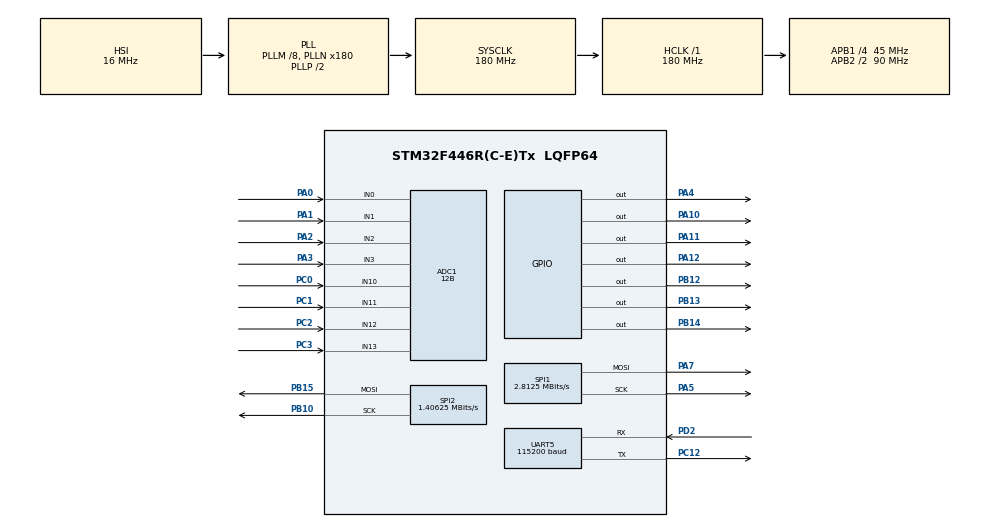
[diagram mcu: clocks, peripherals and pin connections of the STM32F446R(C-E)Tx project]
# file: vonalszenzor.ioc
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ADC1.Channel-2\#ChannelRegularConversion=ADC_CHANNEL_0
ADC1.Channel-23\#ChannelRegularConversion=ADC_CHANNEL_0
ADC1.Channel-6\#ChannelRegularConversion=ADC_CHANNEL_0
ADC1.Channel-7\#ChannelRegularConversion=ADC_CHANNEL_0
ADC1.Channel-8\#ChannelRegularConversion=ADC_CHANNEL_0
ADC1.Channel-9\#ChannelRegularConversion=ADC_CHANNEL_0
ADC1.ClockPrescaler=ADC_CLOCK_SYNC_PCLK_DIV4
ADC1.ContinuousConvMode=DISABLE
ADC1.DMAContinuousRequests=DISABLE
ADC1.DataAlign=ADC_DATAALIGN_RIGHT
ADC1.DiscontinuousConvMode=DISABLE
ADC1.EOCSelection=ADC_EOC_SINGLE_CONV
ADC1.EnableAnalogWatchDog=false
ADC1.ExternalTrigConv=ADC_SOFTWARE_START
ADC1.ExternalTrigConvEdge=ADC_EXTERNALTRIGCONVEDGE_NONE
ADC1.InjNumberOfConversion=0
ADC1.NbrOfConversion=2
ADC1.NbrOfConversionFlag=1
ADC1.Rank-2\#ChannelRegularConversion=1
ADC1.Rank-23\#ChannelRegularConversion=2
ADC1.Rank-6\#ChannelRegularConversion=5
ADC1.Rank-7\#ChannelRegularConversion=6
ADC1.Rank-8\#ChannelRegularConversion=7
ADC1.Rank-9\#ChannelRegularConversion=8
ADC1.Resolution=ADC_RESOLUTION_12B
ADC1.SamplingTime-2\#ChannelRegularConversion=ADC_SAMPLETIME_84CYCLES
ADC1.SamplingTime-23\#ChannelRegularConversion=ADC_SAMPLETIME_3CYCLES
ADC1.SamplingTime-6\#ChannelRegularConversion=ADC_SAMPLETIME_84CYCLES
ADC1.SamplingTime-7\#ChannelRegularConversion=ADC_SAMPLETIME_84CYCLES
ADC1.SamplingTime-8\#ChannelRegularConversion=ADC_SAMPLETIME_84CYCLES
ADC1.SamplingTime-9\#ChannelRegularConversion=ADC_SAMPLETIME_84CYCLES
ADC1.ScanConvMode=ENABLE
ADC1.master=1
Dma.ADC1.0.Direction=DMA_PERIPH_TO_MEMORY
Dma.ADC1.0.FIFOMode=DMA_FIFOMODE_DISABLE
Dma.ADC1.0.Instance=DMA2_Stream0
Dma.ADC1.0.MemDataAlignment=DMA_MDATAALIGN_WORD
Dma.ADC1.0.MemInc=DMA_MINC_ENABLE
Dma.ADC1.0.Mode=DMA_NORMAL
Dma.ADC1.0.PeriphDataAlignment=DMA_PDATAALIGN_WORD
Dma.ADC1.0.PeriphInc=DMA_PINC_DISABLE
Dma.ADC1.0.Priority=DMA_PRIORITY_HIGH
Dma.Request0=ADC1
Mcu.Family=STM32F4
Mcu.Name=STM32F446R(C-E)Tx
Mcu.Package=LQFP64
NVIC.ADC_IRQn=true\:0\:0\:false\:false\:true\:true
NVIC.DMA2_Stream0_IRQn=true\:0\:0\:false\:false\:true\:false
NVIC.PriorityGroup=NVIC_PRIORITYGROUP_4
NVIC.TIM2_IRQn=true\:0\:0\:false\:false\:true\:true
NVIC.TIM4_IRQn=true\:0\:0\:false\:false\:true\:true
NVIC.UART5_IRQn=true\:0\:0\:false\:false\:true\:true
PA0-WKUP.Signal=ADCx_IN0
PA1.Signal=ADCx_IN1
PA10.Signal=GPIO_Output
PA11.Signal=GPIO_Output
PA12.Signal=GPIO_Output
PA13.Signal=SYS_JTMS-SWDIO
PA14.Signal=SYS_JTCK-SWCLK
PA2.Signal=ADCx_IN2
PA3.Signal=ADCx_IN3
PA4.GPIO_ModeDefaultOutputPP=GPIO_MODE_OUTPUT_PP
PA4.GPIO_PuPd=GPIO_NOPULL
PA4.GPIO_Speed=GPIO_SPEED_FREQ_LOW
PA4.PinState=GPIO_PIN_RESET
PA4.Signal=GPIO_Output
PA5.Mode=TX_Only_Simplex_Unidirect_Master
PA5.Signal=SPI1_SCK
PA7.Mode=TX_Only_Simplex_Unidirect_Master
PA7.Signal=SPI1_MOSI
PB10.Mode=TX_Only_Simplex_Unidirect_Master
PB10.Signal=SPI2_SCK
PB12.GPIO_ModeDefaultOutputPP=GPIO_MODE_OUTPUT_PP
PB12.GPIO_PuPd=GPIO_NOPULL
PB12.GPIO_Speed=GPIO_SPEED_FREQ_LOW
PB12.PinState=GPIO_PIN_RESET
PB12.Signal=GPIO_Output
PB13.GPIO_ModeDefaultOutputPP=GPIO_MODE_OUTPUT_PP
PB13.GPIO_PuPd=GPIO_NOPULL
PB13.GPIO_Speed=GPIO_SPEED_FREQ_LOW
PB13.PinState=GPIO_PIN_RESET
PB13.Signal=GPIO_Output
PB14.GPIO_ModeDefaultOutputPP=GPIO_MODE_OUTPUT_PP
PB14.GPIO_PuPd=GPIO_NOPULL
PB14.GPIO_Speed=GPIO_SPEED_FREQ_LOW
PB14.PinState=GPIO_PIN_RESET
PB14.Signal=GPIO_Output
PB15.Mode=TX_Only_Simplex_Unidirect_Master
PB15.Signal=SPI2_MOSI
PB3.Signal=SYS_JTDO-SWO
PC0.Signal=ADCx_IN10
PC1.Signal=ADCx_IN11
PC12.Mode=Asynchronous
PC12.Signal=UART5_TX
PC2.Signal=ADCx_IN12
PC3.Signal=ADCx_IN13
PD2.Mode=Asynchronous
PD2.Signal=UART5_RX
ProjectManager.HeapSize=0x200
ProjectManager.StackSize=0x400
ProjectManager.TargetToolchain=SW4STM32
RCC.AHBFreq_Value=180000000
RCC.APB1CLKDivider=RCC_HCLK_DIV4
RCC.APB1Freq_Value=45000000
RCC.APB1TimFreq_Value=90000000
RCC.APB2CLKDivider=RCC_HCLK_DIV2
RCC.APB2Freq_Value=90000000
RCC.APB2TimFreq_Value=180000000
RCC.CortexFreq_Value=180000000
RCC.HCLKFreq_Value=180000000
RCC.PLLM=8
RCC.PLLN=180
RCC.SYSCLKFreq_VALUE=180000000
RCC.SYSCLKSource=RCC_SYSCLKSOURCE_PLLCLK
RCC.USBFreq_Value=180000000
RCC.VCOOutputFreq_Value=360000000
SH.ADCx_IN0.0=ADC1_IN0,IN0
SH.ADCx_IN1.0=ADC1_IN1,IN1
SH.ADCx_IN10.0=ADC1_IN10,IN10
SH.ADCx_IN11.0=ADC1_IN11,IN11
SH.ADCx_IN12.0=ADC1_IN12,IN12
SH.ADCx_IN13.0=ADC1_IN13,IN13
SH.ADCx_IN2.0=ADC1_IN2,IN2
SH.ADCx_IN3.0=ADC1_IN3,IN3
SPI1.BaudRatePrescaler=SPI_BAUDRATEPRESCALER_32
SPI1.CalculateBaudRate=2.8125 MBits/s
SPI1.DataSize=SPI_DATASIZE_16BIT
SPI1.Direction=SPI_DIRECTION_2LINES
SPI1.FirstBit=SPI_FIRSTBIT_LSB
SPI1.Mode=SPI_MODE_MASTER
SPI1.VirtualType=VM_MASTER
SPI2.BaudRatePrescaler=SPI_BAUDRATEPRESCALER_32
SPI2.CalculateBaudRate=1.40625 MBits/s
SPI2.DataSize=SPI_DATASIZE_8BIT
SPI2.Direction=SPI_DIRECTION_2LINES
SPI2.FirstBit=SPI_FIRSTBIT_LSB
SPI2.Mode=SPI_MODE_MASTER
SPI2.VirtualType=VM_MASTER
TIM2.Period=1000
TIM2.Prescaler=90
TIM4.Period=90
UART5.BaudRate=115200
UART5.Mode=MODE_TX
UART5.VirtualMode=Asynchronous
UART5.WordLength=WORDLENGTH_8B
VP_TIM2_VS_ClockSourceINT.Mode=Internal
VP_TIM4_VS_ClockSourceINT.Mode=Internal
board=custom

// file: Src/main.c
/**
  ******************************************************************************
  * @file           : main.c
  * @brief          : Main program body
  ******************************************************************************
  ** This notice applies to any and all portions of this file
  * that are not between comment pairs USER CODE BEGIN and
  * USER CODE END. Other portions of this file, whether
  * inserted by the user or by software development tools
  * are owned by their respective copyright owners.
  *
  * COPYRIGHT(c) 2018 STMicroelectronics
  *
  * Redistribution and use in source and binary forms, with or without modification,
  * are permitted provided that the following conditions are met:
  *   1. Redistributions of source code must retain the above copyright notice,
  *      this list of conditions and the following disclaimer.
  *   2. Redistributions in binary form must reproduce the above copyright notice,
  *      this list of conditions and the following disclaimer in the documentation
  *      and/or other materials provided with the distribution.
  *   3. Neither the name of STMicroelectronics nor the names of its contributors
  *      may be used to endorse or promote products derived from this software
  *      without specific prior written permission.
  *
  * THIS SOFTWARE IS PROVIDED BY THE COPYRIGHT HOLDERS AND CONTRIBUTORS "AS IS"
  * AND ANY EXPRESS OR IMPLIED WARRANTIES, INCLUDING, BUT NOT LIMITED TO, THE
  * IMPLIED WARRANTIES OF MERCHANTABILITY AND FITNESS FOR A PARTICULAR PURPOSE ARE
  * DISCLAIMED. IN NO EVENT SHALL THE COPYRIGHT HOLDER OR CONTRIBUTORS BE LIABLE
  * FOR ANY DIRECT, INDIRECT, INCIDENTAL, SPECIAL, EXEMPLARY, OR CONSEQUENTIAL
  * DAMAGES (INCLUDING, BUT NOT LIMITED TO, PROCUREMENT OF SUBSTITUTE GOODS OR
  * SERVICES; LOSS OF USE, DATA, OR PROFITS; OR BUSINESS INTERRUPTION) HOWEVER
  * CAUSED AND ON ANY THEORY OF LIABILITY, WHETHER IN CONTRACT, STRICT LIABILITY,
  * OR TORT (INCLUDING NEGLIGENCE OR OTHERWISE) ARISING IN ANY WAY OUT OF THE USE
  * OF THIS SOFTWARE, EVEN IF ADVISED OF THE POSSIBILITY OF SUCH DAMAGE.
  *
  ******************************************************************************
  */
#include "main.h"
#include "stm32f4xx_hal.h"

/* USER CODE BEGIN Includes */
//#include "stdio.h"
//#include "stdlib.h"
#include <stdbool.h>
#include <string.h>
#include "display.h"

/* USER CODE END Includes */

ADC_HandleTypeDef hadc1;
DMA_HandleTypeDef hdma_adc1;

SPI_HandleTypeDef hspi1;
SPI_HandleTypeDef hspi2;

TIM_HandleTypeDef htim2;
TIM_HandleTypeDef htim4;

UART_HandleTypeDef huart5;

/* USER CODE BEGIN PV */
/* Private variables ---------------------------------------------------------*/

uint8_t i,j,k;
extern uint32_t myTicks;
char TxData[16]; // "2,150000'\0'"
uint8_t count;    //vonal db szĹ m
uint16_t pos;
float yhszum=0;
float hszum=0;
uint32_t tav= 12799;		//kozep
uint32_t tav2 = 12799;
uint32_t regitav= 12799;	//kozep

uint8_t counter=0;
uint8_t szinkr=0;
uint8_t kuldcpl=1;
uint8_t datacpl=0;
const float dist=8.258;

uint8_t felfuto;
uint8_t lefuto;

uint8_t countfel=0;
uint8_t countle=0;

uint32_t channelLUT[16][2] = {
	{ADC_CHANNEL_0,	 ADC_CHANNEL_2},
	{ADC_CHANNEL_11, ADC_CHANNEL_13},
	{ADC_CHANNEL_0,	 ADC_CHANNEL_2},
	{ADC_CHANNEL_11, ADC_CHANNEL_13},
	{ADC_CHANNEL_0,	 ADC_CHANNEL_2},
	{ADC_CHANNEL_11, ADC_CHANNEL_13},
	{ADC_CHANNEL_0,	 ADC_CHANNEL_2},
	{ADC_CHANNEL_11, ADC_CHANNEL_13},
	{ADC_CHANNEL_1,	 ADC_CHANNEL_3},
	{ADC_CHANNEL_10, ADC_CHANNEL_12},
	{ADC_CHANNEL_1,	 ADC_CHANNEL_3},
	{ADC_CHANNEL_10, ADC_CHANNEL_12},
	{ADC_CHANNEL_1,	 ADC_CHANNEL_3},
	{ADC_CHANNEL_10, ADC_CHANNEL_12},
	{ADC_CHANNEL_1,	 ADC_CHANNEL_3},
	{ADC_CHANNEL_10, ADC_CHANNEL_12}
};

uint16_t iLEDLUT[9] = 	{
							0b0000000100000001,
							0b0000001000000010,
							0b0000010000000100,
							0b0000100000001000,
							0b0001000000010000,
							0b0010000000100000,
							0b0100000001000000,
							0b1000000010000000,
							0b0000000000000000
						};

uint16_t measureLUT[32] = {  0,  8, 16, 24,
							1,  9, 17, 25,
							2, 10, 18, 26,
							3, 11, 19, 27,
							4, 12, 20, 28,
							5, 13, 21, 29,
							6, 14, 22, 30,
							7, 15, 23, 31
							};

//MUX vezĹĄrlĹĄsĹĄre
uint8_t muxLUT[16] = { 	3, 0, // 1,  9, 17, 25
						0, 2, // 2, 10, 18, 26
						1, 3, // 3, 11, 19, 27
						2, 1, // 4, 12, 20, 28
						0, 3, // 5, 13, 21, 29
						2, 0, // 6, 14, 22, 30
						3, 1, // 7, 15, 23, 31
						1, 2 // 8, 16, 24, 32
						};

uint16_t adcMeasures[32];
uint16_t measureIndex;

/* USER CODE END PV */

void SystemClock_Config(void);
static void MX_GPIO_Init(void);
static void MX_DMA_Init(void);
static void MX_ADC1_Init(void);
static void MX_SPI1_Init(void);
static void MX_SPI2_Init(void);
static void MX_UART5_Init(void);
static void MX_TIM4_Init(void);
static void MX_TIM2_Init(void);

/* USER CODE BEGIN PFP */
/* Private function prototypes -----------------------------------------------*/

/* USER CODE END PFP */

/* USER CODE BEGIN 0 */

void setLEDs(uint8_t index);
void measureADC(uint8_t index);
void measure(void);
void Delay_us(uint16_t us);
void setMux(uint8_t index);
uint16_t vonaltav_calc (uint16_t* ertekek, uint8_t szam);
uint16_t vonalszam_calc (uint16_t* ertekek);
void vonalszenzordebug(void);

/* USER CODE END 0 */

int main(void)
{

  /* MCU Configuration----------------------------------------------------------*/

  /* Reset of all peripherals, Initializes the Flash interface and the Systick. */
  HAL_Init();

  /* Configure the system clock */
  SystemClock_Config();

  /* Initialize all configured peripherals */
  MX_GPIO_Init();
  MX_DMA_Init();
  MX_ADC1_Init();
  MX_SPI1_Init();
  MX_SPI2_Init();
  MX_UART5_Init();
  MX_TIM4_Init();
  MX_TIM2_Init();
  /* USER CODE BEGIN 2 */

  HAL_TIM_Base_Start_IT(&htim2);

//ALAPHELYZETBE Ĺ�LLĂ•TĹ�S
  //VISSZAJELZâ€™ LED
  HAL_GPIO_WritePin(GPIOB, GPIO_PIN_12, GPIO_PIN_RESET); //LE lehÄ·z vj
  HAL_GPIO_WritePin(GPIOA, GPIO_PIN_11, GPIO_PIN_RESET);//oe
  HAL_GPIO_WritePin(GPIOA, GPIO_PIN_12, GPIO_PIN_RESET);//oe
  //SZENZOR LED
  HAL_GPIO_WritePin(GPIOA, GPIO_PIN_4, GPIO_PIN_RESET); //LE lehÄ·z sz
  HAL_GPIO_WritePin(GPIOA, GPIO_PIN_10, GPIO_PIN_RESET); //OE
HAL_Delay(10);

 while(1)
 {

	if (szinkr)
	{
		measure();										//meres
//		adcMeasures[0] = 0;								//rossz erteket ad ez a szenzor
//		adcMeasures[1] = 0;

		count 	= vonalszam_calc (adcMeasures);			//vonalszam meghatarozas
		tav		= vonaltav_calc (adcMeasures, count);	//vonalpozicio meghatarozas

		displayLinePos(tav);							//tav alapjan visszajelzes (0-26425.6) 26425.6/32=8.258

		szinkr = 0;										//meres utemezeshez
		datacpl = 1;									//kuldes kesz visszajelzes
	}

//Kuldendo adatcsomag letrehozasa
	snprintf(TxData, 16, "%u,%lu,%lu\0", count, tav, tav2); //"2,150000'\0'"

//KULDES
	if (datacpl && kuldcpl)
	{
		kuldcpl=0;
		HAL_UART_Transmit_IT(&huart5, (uint8_t *)TxData, (strlen(TxData)+1)); //melyik, mit, mennyi, mennyi ido
		//vonalszenzordebug();
		datacpl=0;
	}

 }

  /* USER CODE END 2 */

  /* Infinite loop */
  while (1)
  {

  }

}

void SystemClock_Config(void)
{

  RCC_OscInitTypeDef RCC_OscInitStruct;
  RCC_ClkInitTypeDef RCC_ClkInitStruct;

    /**Configure the main internal regulator output voltage
    */
  __HAL_RCC_PWR_CLK_ENABLE();

  __HAL_PWR_VOLTAGESCALING_CONFIG(PWR_REGULATOR_VOLTAGE_SCALE1);

    /**Initializes the CPU, AHB and APB busses clocks
    */
  RCC_OscInitStruct.OscillatorType = RCC_OSCILLATORTYPE_HSI;
  RCC_OscInitStruct.HSIState = RCC_HSI_ON;
  RCC_OscInitStruct.HSICalibrationValue = 16;
  RCC_OscInitStruct.PLL.PLLState = RCC_PLL_ON;
  RCC_OscInitStruct.PLL.PLLSource = RCC_PLLSOURCE_HSI;
  RCC_OscInitStruct.PLL.PLLM = 8;
  RCC_OscInitStruct.PLL.PLLN = 180;
  RCC_OscInitStruct.PLL.PLLP = RCC_PLLP_DIV2;
  RCC_OscInitStruct.PLL.PLLQ = 2;
  RCC_OscInitStruct.PLL.PLLR = 2;
  if (HAL_RCC_OscConfig(&RCC_OscInitStruct) != HAL_OK)
  {
    _Error_Handler(__FILE__, __LINE__);
  }

    /**Activate the Over-Drive mode
    */
  if (HAL_PWREx_EnableOverDrive() != HAL_OK)
  {
    _Error_Handler(__FILE__, __LINE__);
  }

    /**Initializes the CPU, AHB and APB busses clocks
    */
  RCC_ClkInitStruct.ClockType = RCC_CLOCKTYPE_HCLK|RCC_CLOCKTYPE_SYSCLK
                              |RCC_CLOCKTYPE_PCLK1|RCC_CLOCKTYPE_PCLK2;
  RCC_ClkInitStruct.SYSCLKSource = RCC_SYSCLKSOURCE_PLLCLK;
  RCC_ClkInitStruct.AHBCLKDivider = RCC_SYSCLK_DIV1;
  RCC_ClkInitStruct.APB1CLKDivider = RCC_HCLK_DIV4;
  RCC_ClkInitStruct.APB2CLKDivider = RCC_HCLK_DIV2;

  if (HAL_RCC_ClockConfig(&RCC_ClkInitStruct, FLASH_LATENCY_5) != HAL_OK)
  {
    _Error_Handler(__FILE__, __LINE__);
  }

    /**Configure the Systick interrupt time
    */
  HAL_SYSTICK_Config(HAL_RCC_GetHCLKFreq()/1000);

    /**Configure the Systick
    */
  HAL_SYSTICK_CLKSourceConfig(SYSTICK_CLKSOURCE_HCLK);

  /* SysTick_IRQn interrupt configuration */
  HAL_NVIC_SetPriority(SysTick_IRQn, 0, 0);
}

/* ADC1 init function */
static void MX_ADC1_Init(void)
{

  ADC_ChannelConfTypeDef sConfig;

    /**Configure the global features of the ADC (Clock, Resolution, Data Alignment and number of conversion)
    */
  hadc1.Instance = ADC1;
  hadc1.Init.ClockPrescaler = ADC_CLOCK_SYNC_PCLK_DIV4;
  hadc1.Init.Resolution = ADC_RESOLUTION_12B;
  hadc1.Init.ScanConvMode = ENABLE;
  hadc1.Init.ContinuousConvMode = DISABLE;
  hadc1.Init.DiscontinuousConvMode = DISABLE;
  hadc1.Init.ExternalTrigConvEdge = ADC_EXTERNALTRIGCONVEDGE_NONE;
  hadc1.Init.ExternalTrigConv = ADC_SOFTWARE_START;
  hadc1.Init.DataAlign = ADC_DATAALIGN_RIGHT;
  hadc1.Init.NbrOfConversion = 2;
  hadc1.Init.DMAContinuousRequests = DISABLE;
  hadc1.Init.EOCSelection = ADC_EOC_SINGLE_CONV;
  if (HAL_ADC_Init(&hadc1) != HAL_OK)
  {
    _Error_Handler(__FILE__, __LINE__);
  }

    /**Configure for the selected ADC regular channel its corresponding rank in the sequencer and its sample time.
    */
  sConfig.Channel = ADC_CHANNEL_0;
  sConfig.Rank = 1;
  sConfig.SamplingTime = ADC_SAMPLETIME_84CYCLES;
  if (HAL_ADC_ConfigChannel(&hadc1, &sConfig) != HAL_OK)
  {
    _Error_Handler(__FILE__, __LINE__);
  }

    /**Configure for the selected ADC regular channel its corresponding rank in the sequencer and its sample time.
    */
  sConfig.Rank = 5;
  if (HAL_ADC_ConfigChannel(&hadc1, &sConfig) != HAL_OK)
  {
    _Error_Handler(__FILE__, __LINE__);
  }

    /**Configure for the selected ADC regular channel its corresponding rank in the sequencer and its sample time.
    */
  sConfig.Rank = 6;
  if (HAL_ADC_ConfigChannel(&hadc1, &sConfig) != HAL_OK)
  {
    _Error_Handler(__FILE__, __LINE__);
  }

    /**Configure for the selected ADC regular channel its corresponding rank in the sequencer and its sample time.
    */
  sConfig.Rank = 7;
  if (HAL_ADC_ConfigChannel(&hadc1, &sConfig) != HAL_OK)
  {
    _Error_Handler(__FILE__, __LINE__);
  }

    /**Configure for the selected ADC regular channel its corresponding rank in the sequencer and its sample time.
    */
  sConfig.Rank = 8;
  if (HAL_ADC_ConfigChannel(&hadc1, &sConfig) != HAL_OK)
  {
    _Error_Handler(__FILE__, __LINE__);
  }

    /**Configure for the selected ADC regular channel its corresponding rank in the sequencer and its sample time.
    */
  sConfig.Rank = 2;
  sConfig.SamplingTime = ADC_SAMPLETIME_3CYCLES;
  if (HAL_ADC_ConfigChannel(&hadc1, &sConfig) != HAL_OK)
  {
    _Error_Handler(__FILE__, __LINE__);
  }

}

/* SPI1 init function */
static void MX_SPI1_Init(void)
{

  /* SPI1 parameter configuration*/
  hspi1.Instance = SPI1;
  hspi1.Init.Mode = SPI_MODE_MASTER;
  hspi1.Init.Direction = SPI_DIRECTION_2LINES;
  hspi1.Init.DataSize = SPI_DATASIZE_16BIT;
  hspi1.Init.CLKPolarity = SPI_POLARITY_LOW;
  hspi1.Init.CLKPhase = SPI_PHASE_1EDGE;
  hspi1.Init.NSS = SPI_NSS_SOFT;
  hspi1.Init.BaudRatePrescaler = SPI_BAUDRATEPRESCALER_32;
  hspi1.Init.FirstBit = SPI_FIRSTBIT_LSB;
  hspi1.Init.TIMode = SPI_TIMODE_DISABLE;
  hspi1.Init.CRCCalculation = SPI_CRCCALCULATION_DISABLE;
  hspi1.Init.CRCPolynomial = 10;
  if (HAL_SPI_Init(&hspi1) != HAL_OK)
  {
    _Error_Handler(__FILE__, __LINE__);
  }

}

/* SPI2 init function */
static void MX_SPI2_Init(void)
{

  /* SPI2 parameter configuration*/
  hspi2.Instance = SPI2;
  hspi2.Init.Mode = SPI_MODE_MASTER;
  hspi2.Init.Direction = SPI_DIRECTION_2LINES;
  hspi2.Init.DataSize = SPI_DATASIZE_8BIT;
  hspi2.Init.CLKPolarity = SPI_POLARITY_LOW;
  hspi2.Init.CLKPhase = SPI_PHASE_1EDGE;
  hspi2.Init.NSS = SPI_NSS_SOFT;
  hspi2.Init.BaudRatePrescaler = SPI_BAUDRATEPRESCALER_32;
  hspi2.Init.FirstBit = SPI_FIRSTBIT_LSB;
  hspi2.Init.TIMode = SPI_TIMODE_DISABLE;
  hspi2.Init.CRCCalculation = SPI_CRCCALCULATION_DISABLE;
  hspi2.Init.CRCPolynomial = 10;
  if (HAL_SPI_Init(&hspi2) != HAL_OK)
  {
    _Error_Handler(__FILE__, __LINE__);
  }

}

/* TIM2 init function */
static void MX_TIM2_Init(void)
{

  TIM_ClockConfigTypeDef sClockSourceConfig;
  TIM_MasterConfigTypeDef sMasterConfig;

  htim2.Instance = TIM2;
  htim2.Init.Prescaler = 90;
  htim2.Init.CounterMode = TIM_COUNTERMODE_UP;
  htim2.Init.Period = 1000;
  htim2.Init.ClockDivision = TIM_CLOCKDIVISION_DIV1;
  if (HAL_TIM_Base_Init(&htim2) != HAL_OK)
  {
    _Error_Handler(__FILE__, __LINE__);
  }

  sClockSourceConfig.ClockSource = TIM_CLOCKSOURCE_INTERNAL;
  if (HAL_TIM_ConfigClockSource(&htim2, &sClockSourceConfig) != HAL_OK)
  {
    _Error_Handler(__FILE__, __LINE__);
  }

  sMasterConfig.MasterOutputTrigger = TIM_TRGO_RESET;
  sMasterConfig.MasterSlaveMode = TIM_MASTERSLAVEMODE_DISABLE;
  if (HAL_TIMEx_MasterConfigSynchronization(&htim2, &sMasterConfig) != HAL_OK)
  {
    _Error_Handler(__FILE__, __LINE__);
  }

}

/* TIM4 init function */
static void MX_TIM4_Init(void)
{

  TIM_ClockConfigTypeDef sClockSourceConfig;
  TIM_MasterConfigTypeDef sMasterConfig;

  htim4.Instance = TIM4;
  htim4.Init.Prescaler = 0;
  htim4.Init.CounterMode = TIM_COUNTERMODE_UP;
  htim4.Init.Period = 90;
  htim4.Init.ClockDivision = TIM_CLOCKDIVISION_DIV1;
  if (HAL_TIM_Base_Init(&htim4) != HAL_OK)
  {
    _Error_Handler(__FILE__, __LINE__);
  }

  sClockSourceConfig.ClockSource = TIM_CLOCKSOURCE_INTERNAL;
  if (HAL_TIM_ConfigClockSource(&htim4, &sClockSourceConfig) != HAL_OK)
  {
    _Error_Handler(__FILE__, __LINE__);
  }

  sMasterConfig.MasterOutputTrigger = TIM_TRGO_RESET;
  sMasterConfig.MasterSlaveMode = TIM_MASTERSLAVEMODE_DISABLE;
  if (HAL_TIMEx_MasterConfigSynchronization(&htim4, &sMasterConfig) != HAL_OK)
  {
    _Error_Handler(__FILE__, __LINE__);
  }

}

/* UART5 init function */
static void MX_UART5_Init(void)
{

  huart5.Instance = UART5;
  huart5.Init.BaudRate = 115200;
  huart5.Init.WordLength = UART_WORDLENGTH_8B;
  huart5.Init.StopBits = UART_STOPBITS_1;
  huart5.Init.Parity = UART_PARITY_NONE;
  huart5.Init.Mode = UART_MODE_TX;
  huart5.Init.HwFlowCtl = UART_HWCONTROL_NONE;
  huart5.Init.OverSampling = UART_OVERSAMPLING_16;
  if (HAL_UART_Init(&huart5) != HAL_OK)
  {
    _Error_Handler(__FILE__, __LINE__);
  }

}

static void MX_DMA_Init(void)
{
  /* DMA controller clock enable */
  __HAL_RCC_DMA2_CLK_ENABLE();

  /* DMA interrupt init */
  /* DMA2_Stream0_IRQn interrupt configuration */
  HAL_NVIC_SetPriority(DMA2_Stream0_IRQn, 0, 0);
  HAL_NVIC_EnableIRQ(DMA2_Stream0_IRQn);

}

/** Configure pins as
        * Analog
        * Input
        * Output
        * EVENT_OUT
        * EXTI
*/
static void MX_GPIO_Init(void)
{

  GPIO_InitTypeDef GPIO_InitStruct;

  /* GPIO Ports Clock Enable */
  __HAL_RCC_GPIOC_CLK_ENABLE();
  __HAL_RCC_GPIOA_CLK_ENABLE();
  __HAL_RCC_GPIOB_CLK_ENABLE();
  __HAL_RCC_GPIOD_CLK_ENABLE();

  /*Configure GPIO pin Output Level */
  HAL_GPIO_WritePin(GPIOA, GPIO_PIN_4|GPIO_PIN_10|GPIO_PIN_11|GPIO_PIN_12, GPIO_PIN_RESET);

  /*Configure GPIO pin Output Level */
  HAL_GPIO_WritePin(GPIOB, GPIO_PIN_12|GPIO_PIN_13|GPIO_PIN_14, GPIO_PIN_RESET);

  /*Configure GPIO pins : PA4 PA10 PA11 PA12 */
  GPIO_InitStruct.Pin = GPIO_PIN_4|GPIO_PIN_10|GPIO_PIN_11|GPIO_PIN_12;
  GPIO_InitStruct.Mode = GPIO_MODE_OUTPUT_PP;
  GPIO_InitStruct.Pull = GPIO_NOPULL;
  GPIO_InitStruct.Speed = GPIO_SPEED_FREQ_LOW;
  HAL_GPIO_Init(GPIOA, &GPIO_InitStruct);

  /*Configure GPIO pins : PB12 PB13 PB14 */
  GPIO_InitStruct.Pin = GPIO_PIN_12|GPIO_PIN_13|GPIO_PIN_14;
  GPIO_InitStruct.Mode = GPIO_MODE_OUTPUT_PP;
  GPIO_InitStruct.Pull = GPIO_NOPULL;
  GPIO_InitStruct.Speed = GPIO_SPEED_FREQ_LOW;
  HAL_GPIO_Init(GPIOB, &GPIO_InitStruct);

}

/* USER CODE BEGIN 4 */
void setMux(uint8_t index)
{
	uint8_t muxIndex = muxLUT[index];
	switch(muxIndex){
	case 0:
		HAL_GPIO_WritePin(GPIOB, GPIO_PIN_13, GPIO_PIN_RESET);
		HAL_GPIO_WritePin(GPIOB, GPIO_PIN_14, GPIO_PIN_RESET);
		break;
	case 1:
		HAL_GPIO_WritePin(GPIOB, GPIO_PIN_13, GPIO_PIN_SET);
		HAL_GPIO_WritePin(GPIOB, GPIO_PIN_14, GPIO_PIN_RESET);
		break;
	case 2:
		HAL_GPIO_WritePin(GPIOB, GPIO_PIN_13, GPIO_PIN_RESET);
		HAL_GPIO_WritePin(GPIOB, GPIO_PIN_14, GPIO_PIN_SET);
		break;
	case 3:
		HAL_GPIO_WritePin(GPIOB, GPIO_PIN_13, GPIO_PIN_SET);
		HAL_GPIO_WritePin(GPIOB, GPIO_PIN_14, GPIO_PIN_SET);
		break;
	default:
		break;
	}
}

void HAL_TIM_PeriodElapsedCallback(TIM_HandleTypeDef *htim)
{
  if(htim->Instance == TIM2)
  {
	  counter++;

	  //10ms-os idozites
	  if(counter==5)
	  {
		  szinkr=1;
		  counter=0;
	  }

  }
}
void HAL_UART_TxCpltCallback(UART_HandleTypeDef *huart)
{
  kuldcpl=1;
}

void setLEDs(uint8_t index)
{
	uint16_t data = iLEDLUT[index];
	HAL_SPI_Transmit(&hspi1, &data, 1, HAL_MAX_DELAY);

	HAL_GPIO_WritePin(GPIOA, GPIO_PIN_4, GPIO_PIN_SET); //LE fel
	HAL_GPIO_WritePin(GPIOA, GPIO_PIN_4, GPIO_PIN_RESET); //LE le
}

uint8_t measureCompleted = 0;
void measureADC(uint8_t index)
{
	ADC_ChannelConfTypeDef sConfig;
	sConfig.Channel = channelLUT[index][0];
	sConfig.Rank = 1;
	sConfig.SamplingTime = ADC_SAMPLETIME_28CYCLES;
	if (HAL_ADC_ConfigChannel(&hadc1, &sConfig) != HAL_OK)
	{
	_Error_Handler(__FILE__, __LINE__);
	}

	sConfig.Channel = channelLUT[index][1];
	sConfig.Rank = 2;
	if (HAL_ADC_ConfigChannel(&hadc1, &sConfig) != HAL_OK)
	{
	_Error_Handler(__FILE__, __LINE__);
	}

	measureCompleted = 0;
	uint32_t adcData[2];
	if(HAL_ADC_Start_DMA(&hadc1, adcData, 2) != HAL_OK)
	{
		_Error_Handler(__FILE__, __LINE__);
	}
	while(measureCompleted == 0);
	adcMeasures[measureLUT[2*index]] = (uint16_t)adcData[0];
	adcMeasures[measureLUT[2*index+1]] = (uint16_t)adcData[1];
	HAL_ADC_Stop_DMA(&hadc1);
}

void measure(void)
{
	for(i=0; i<8; i++)
	{
		setLEDs(i);
		for(j = 0; j < 2; j++)
		{
			setMux(i*2+j);
			measureADC(i*2+j);
		}
	}
	setLEDs(9);
}

void HAL_ADC_ConvCpltCallback(ADC_HandleTypeDef* hadc)
{
	measureCompleted = 1;
}

void Delay_us(uint16_t us)
{
	uint32_t vege=myTicks + us;
	while(myTicks < vege);
}

/*
void BvjLED(uint16_t* measures) //Binaris visszajelzes:
{
		vjLED.word=0;
		for(int v=0; v<32; v++)
		{
			if(measures[v] > 800)
			{
				vjLED.word =vjLED.word|1;
			}
			if(v<31) vjLED.word = vjLED.word << 1;
		}

		//teszt.word=0b00000000000000000000000000000000;

		//Adatk�?ż�??ldĹĄs
		HAL_SPI_Transmit(&hspi2, vjLED.rawdata, 4, HAL_MAX_DELAY);
		//LE (PB12 33-NSS) fel le
		HAL_GPIO_WritePin(GPIOB, GPIO_PIN_12, GPIO_PIN_SET);
		HAL_GPIO_WritePin(GPIOB, GPIO_PIN_12, GPIO_PIN_RESET);
}
*/

//vonalszam kalkulacio
uint16_t vonalszam_calc (uint16_t* ertekek)
{
	countfel = 0;
	countle = 0;

	uint16_t meresek[32];
	uint16_t hatar=600;

	for(int i=0; i<32; i++)
	{
		meresek[i]=ertekek[i];
	}

//	int max=0, min=meresek[0];
//
//	for(int j=0; j<32; j++)
//	{
//		if(meresek[j] > max) max=meresek[j];
//		if(meresek[j] < min) min=meresek[j];
//	}
//	min=min+((max-min)/4);
//	for(int j=0; j<32; j++)
//		{
//			if(meresek[j]<min) meresek[j]=0;
//	}
	uint8_t flagle = 0;
	for(int i=0, j=1 ; j<32 ; i++, j++ )								//egyik kisebb-másik nagyobb mint "hatar"
	{
			if(  (meresek[i] < hatar) && (meresek[j] > hatar) )
			{
				countfel++;
				felfuto = i;
			}
			if( (meresek[j] < hatar) && (meresek[i] > hatar) )
			{
				countle++;
				if(flagle == 0)
				{
					lefuto = j;
					flagle = 1;
				}
			}
	}

//	for(int i=0, j=1 ; j<32 ; i++, j++ )								//"hatar" különbség van a kettő között
//	{
//			if( (meresek[i] +  hatar) < meresek[j] )
//			{
//				countfel++;
//			}
//			if( (meresek[i] -  hatar) > meresek[j] )
//			{
//				countle++;
//			}
//	}

	if (countfel < countle)
	{
		countfel=countle;
	}
	return countfel;
}

uint16_t vonaltav_calc (uint16_t* ertekek, uint8_t szam)
{

	yhszum=0;
	hszum=0;
	static float sum=0;
	static uint8_t init = 0;

	if(init == 0) {						//csak az elejen szamol atlagot
		for(int i=0; i<32; i++)
		{
			sum = sum + ertekek[i];
		}

		sum=sum/32.0f;
		init = 1;
	}

	for(int i=0; i<32; i++)				//atlagnal kisebbet nullaz, nagyobból kivonja az atlagot
	{
		if(ertekek[i]<sum)
		{
			ertekek[i]=0;
		}
		else
		{
			ertekek[i]=ertekek[i]-sum;
		}
	}

	if( szam == 2 )
	{
		uint8_t kozep = (lefuto + felfuto) / 2;

		//ELSO VONAL
		for(int i=0 ; i< kozep ; i++)
		{
			yhszum=yhszum+ertekek[i]*i*dist;
			hszum=hszum+ertekek[i];
		}
		tav= (yhszum/hszum)*100; //0-25599

		//MASODIK VONAL
		yhszum=0;
		hszum=0;
		for(int i=kozep ; i< 32 ; i++)
		{
			yhszum=yhszum+ertekek[i]*i*dist;
			hszum=hszum+ertekek[i];
		}
		tav2= (yhszum/hszum)*100; //0-25599

	}
	else
	{
		for(int i=0 ; i<32 ; i++)
		{
			yhszum=yhszum+ertekek[i]*i*dist;
			hszum=hszum+ertekek[i];
		}

		if (szam==0)
		{
			tav= regitav;
			tav2 = 0;
		}
		else
		{
			tav= (yhszum/hszum)*100; //0-25599
			tav2 = 0;
			regitav=tav;
		}
	}

	return tav;
}

void vonalszenzordebug(void)
{
	uint8_t debugdata[32];

	for(int i=0; i<32; i++)
	{
		if (adcMeasures[i] > 2500)
		{
			debugdata[i] = 250;
		}
		else
		{
			debugdata[i] = adcMeasures[i]/10;
		}
	}

	char TxDatak[200];
	snprintf(TxDatak,200,"%u,",debugdata[0] );

	for(int i=1; i<32; i++)
	{
		char TxBuf[5];
		snprintf(TxBuf,5,"%u,", debugdata[i]);
		strcat(TxDatak, TxBuf);
	}
	strcat(TxDatak, "\n");

	HAL_UART_Transmit(&huart5, (uint8_t *)TxDatak, strlen(TxDatak)+1 , HAL_MAX_DELAY); //melyik, mit, mennyi, mennyi ido
}

/* USER CODE END 4 */

void _Error_Handler(char *file, int line)
{
  while(1)
  {
  }
}

/************************ (C) COPYRIGHT STMicroelectronics *****END OF FILE****/
